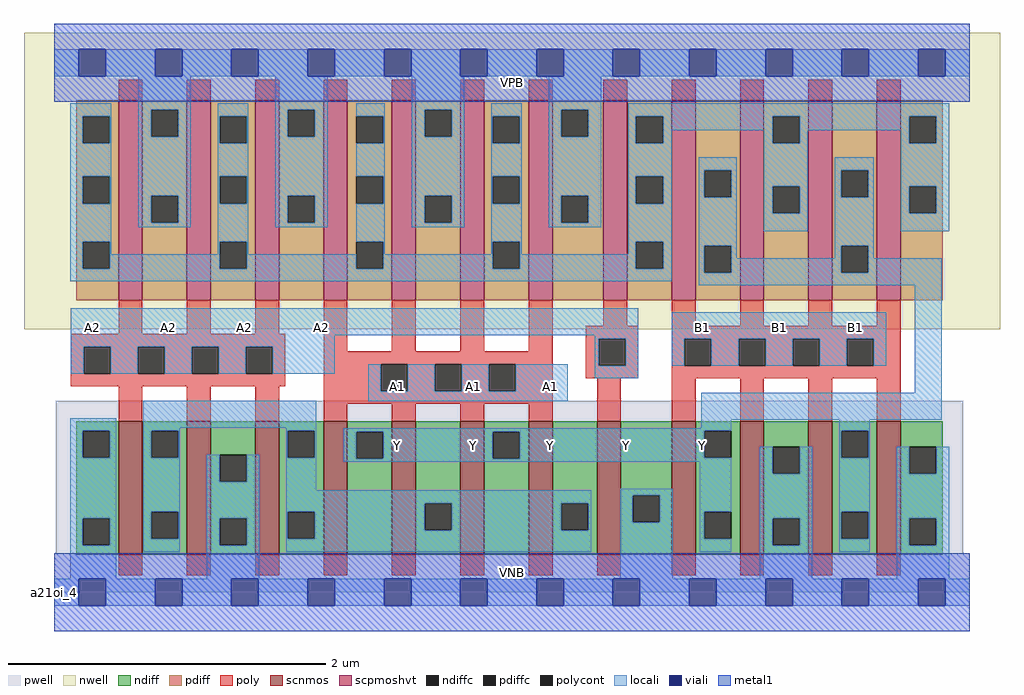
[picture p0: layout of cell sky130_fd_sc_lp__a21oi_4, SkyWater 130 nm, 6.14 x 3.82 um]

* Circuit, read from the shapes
.subckt sky130_fd_sc_lp__a21oi_4 A1 A2 B1 VGND VNB VPB VPWR Y
XM1 n1 A2 VGND VNB sky130_fd_pr__nfet_01v8 w=0.84 l=0.15 m=4
XM2 Y A1 n1 VNB sky130_fd_pr__nfet_01v8 w=0.84 l=0.15 m=4
XM3 Y B1 VGND VNB sky130_fd_pr__nfet_01v8 w=0.84 l=0.15 m=4
XM4 VPWR A2 n2 VPB sky130_fd_pr__pfet_01v8_hvt w=1.26 l=0.15 m=4
XM5 n2 A1 VPWR VPB sky130_fd_pr__pfet_01v8_hvt w=1.26 l=0.15 m=4
XM6 Y B1 n2 VPB sky130_fd_pr__pfet_01v8_hvt w=1.26 l=0.15 m=4
.ends

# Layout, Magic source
magic
tech sky130A
magscale 1 2
<< nwell >>
rect -38 331 1190 704
<< pwell >>
rect 2 49 1144 241
rect 0 0 1152 49
<< scnmos >>
rect 81 47 111 215
rect 167 47 197 215
rect 253 47 283 215
rect 339 47 369 215
rect 425 47 455 215
rect 511 47 541 215
rect 597 47 627 215
rect 683 47 713 215
rect 777 47 807 215
rect 863 47 893 215
rect 949 47 979 215
rect 1035 47 1065 215
<< scpmoshvt >>
rect 81 367 111 619
rect 167 367 197 619
rect 253 367 283 619
rect 339 367 369 619
rect 425 367 455 619
rect 511 367 541 619
rect 597 367 627 619
rect 691 367 721 619
rect 777 367 807 619
rect 863 367 893 619
rect 949 367 979 619
rect 1035 367 1065 619
<< ndiff >>
rect 28 203 81 215
rect 28 169 36 203
rect 70 169 81 203
rect 28 93 81 169
rect 28 59 36 93
rect 70 59 81 93
rect 28 47 81 59
rect 111 203 167 215
rect 111 169 122 203
rect 156 169 167 203
rect 111 101 167 169
rect 111 67 122 101
rect 156 67 167 101
rect 111 47 167 67
rect 197 173 253 215
rect 197 139 208 173
rect 242 139 253 173
rect 197 93 253 139
rect 197 59 208 93
rect 242 59 253 93
rect 197 47 253 59
rect 283 203 339 215
rect 283 169 294 203
rect 328 169 339 203
rect 283 101 339 169
rect 283 67 294 101
rect 328 67 339 101
rect 283 47 339 67
rect 369 202 425 215
rect 369 168 380 202
rect 414 168 425 202
rect 369 47 425 168
rect 455 112 511 215
rect 455 78 466 112
rect 500 78 511 112
rect 455 47 511 78
rect 541 202 597 215
rect 541 168 552 202
rect 586 168 597 202
rect 541 47 597 168
rect 627 112 683 215
rect 627 78 638 112
rect 672 78 683 112
rect 627 47 683 78
rect 713 122 777 215
rect 713 88 728 122
rect 762 88 777 122
rect 713 47 777 88
rect 807 203 863 215
rect 807 169 818 203
rect 852 169 863 203
rect 807 101 863 169
rect 807 67 818 101
rect 852 67 863 101
rect 807 47 863 67
rect 893 183 949 215
rect 893 149 904 183
rect 938 149 949 183
rect 893 93 949 149
rect 893 59 904 93
rect 938 59 949 93
rect 893 47 949 59
rect 979 203 1035 215
rect 979 169 990 203
rect 1024 169 1035 203
rect 979 101 1035 169
rect 979 67 990 101
rect 1024 67 1035 101
rect 979 47 1035 67
rect 1065 183 1118 215
rect 1065 149 1076 183
rect 1110 149 1118 183
rect 1065 93 1118 149
rect 1065 59 1076 93
rect 1110 59 1118 93
rect 1065 47 1118 59
<< pdiff >>
rect 28 599 81 619
rect 28 565 36 599
rect 70 565 81 599
rect 28 523 81 565
rect 28 489 36 523
rect 70 489 81 523
rect 28 441 81 489
rect 28 407 36 441
rect 70 407 81 441
rect 28 367 81 407
rect 111 607 167 619
rect 111 573 122 607
rect 156 573 167 607
rect 111 499 167 573
rect 111 465 122 499
rect 156 465 167 499
rect 111 367 167 465
rect 197 599 253 619
rect 197 565 208 599
rect 242 565 253 599
rect 197 523 253 565
rect 197 489 208 523
rect 242 489 253 523
rect 197 441 253 489
rect 197 407 208 441
rect 242 407 253 441
rect 197 367 253 407
rect 283 607 339 619
rect 283 573 294 607
rect 328 573 339 607
rect 283 499 339 573
rect 283 465 294 499
rect 328 465 339 499
rect 283 367 339 465
rect 369 599 425 619
rect 369 565 380 599
rect 414 565 425 599
rect 369 523 425 565
rect 369 489 380 523
rect 414 489 425 523
rect 369 441 425 489
rect 369 407 380 441
rect 414 407 425 441
rect 369 367 425 407
rect 455 607 511 619
rect 455 573 466 607
rect 500 573 511 607
rect 455 499 511 573
rect 455 465 466 499
rect 500 465 511 499
rect 455 367 511 465
rect 541 599 597 619
rect 541 565 552 599
rect 586 565 597 599
rect 541 523 597 565
rect 541 489 552 523
rect 586 489 597 523
rect 541 441 597 489
rect 541 407 552 441
rect 586 407 597 441
rect 541 367 597 407
rect 627 607 691 619
rect 627 573 638 607
rect 672 573 691 607
rect 627 499 691 573
rect 627 465 638 499
rect 672 465 691 499
rect 627 367 691 465
rect 721 599 777 619
rect 721 565 732 599
rect 766 565 777 599
rect 721 523 777 565
rect 721 489 732 523
rect 766 489 777 523
rect 721 441 777 489
rect 721 407 732 441
rect 766 407 777 441
rect 721 367 777 407
rect 807 531 863 619
rect 807 497 818 531
rect 852 497 863 531
rect 807 436 863 497
rect 807 402 818 436
rect 852 402 863 436
rect 807 367 863 402
rect 893 599 949 619
rect 893 565 904 599
rect 938 565 949 599
rect 893 511 949 565
rect 893 477 904 511
rect 938 477 949 511
rect 893 367 949 477
rect 979 531 1035 619
rect 979 497 990 531
rect 1024 497 1035 531
rect 979 436 1035 497
rect 979 402 990 436
rect 1024 402 1035 436
rect 979 367 1035 402
rect 1065 599 1118 619
rect 1065 565 1076 599
rect 1110 565 1118 599
rect 1065 511 1118 565
rect 1065 477 1076 511
rect 1110 477 1118 511
rect 1065 367 1118 477
<< ndiffc >>
rect 36 169 70 203
rect 36 59 70 93
rect 122 169 156 203
rect 122 67 156 101
rect 208 139 242 173
rect 208 59 242 93
rect 294 169 328 203
rect 294 67 328 101
rect 380 168 414 202
rect 466 78 500 112
rect 552 168 586 202
rect 638 78 672 112
rect 728 88 762 122
rect 818 169 852 203
rect 818 67 852 101
rect 904 149 938 183
rect 904 59 938 93
rect 990 169 1024 203
rect 990 67 1024 101
rect 1076 149 1110 183
rect 1076 59 1110 93
<< pdiffc >>
rect 36 565 70 599
rect 36 489 70 523
rect 36 407 70 441
rect 122 573 156 607
rect 122 465 156 499
rect 208 565 242 599
rect 208 489 242 523
rect 208 407 242 441
rect 294 573 328 607
rect 294 465 328 499
rect 380 565 414 599
rect 380 489 414 523
rect 380 407 414 441
rect 466 573 500 607
rect 466 465 500 499
rect 552 565 586 599
rect 552 489 586 523
rect 552 407 586 441
rect 638 573 672 607
rect 638 465 672 499
rect 732 565 766 599
rect 732 489 766 523
rect 732 407 766 441
rect 818 497 852 531
rect 818 402 852 436
rect 904 565 938 599
rect 904 477 938 511
rect 990 497 1024 531
rect 990 402 1024 436
rect 1076 565 1110 599
rect 1076 477 1110 511
<< poly >>
rect 81 619 111 645
rect 167 619 197 645
rect 253 619 283 645
rect 339 619 369 645
rect 425 619 455 645
rect 511 619 541 645
rect 597 619 627 645
rect 691 619 721 645
rect 777 619 807 645
rect 863 619 893 645
rect 949 619 979 645
rect 1035 619 1065 645
rect 81 325 111 367
rect 167 325 197 367
rect 253 325 283 367
rect 21 309 291 325
rect 21 275 37 309
rect 71 275 105 309
rect 139 275 173 309
rect 207 275 241 309
rect 275 275 291 309
rect 21 259 291 275
rect 339 303 369 367
rect 425 303 455 367
rect 511 303 541 367
rect 597 303 627 367
rect 691 335 721 367
rect 777 335 807 367
rect 863 335 893 367
rect 949 335 979 367
rect 1035 335 1065 367
rect 339 287 627 303
rect 81 215 111 259
rect 167 215 197 259
rect 253 215 283 259
rect 339 253 411 287
rect 445 253 479 287
rect 513 253 547 287
rect 581 253 627 287
rect 669 319 735 335
rect 669 285 685 319
rect 719 285 735 319
rect 669 269 735 285
rect 777 319 1065 335
rect 777 285 793 319
rect 827 285 861 319
rect 895 285 929 319
rect 963 285 997 319
rect 1031 285 1065 319
rect 777 269 1065 285
rect 339 237 627 253
rect 339 215 369 237
rect 425 215 455 237
rect 511 215 541 237
rect 597 215 627 237
rect 683 215 713 269
rect 777 215 807 269
rect 863 215 893 269
rect 949 215 979 269
rect 1035 215 1065 269
rect 81 21 111 47
rect 167 21 197 47
rect 253 21 283 47
rect 339 21 369 47
rect 425 21 455 47
rect 511 21 541 47
rect 597 21 627 47
rect 683 21 713 47
rect 777 21 807 47
rect 863 21 893 47
rect 949 21 979 47
rect 1035 21 1065 47
<< polycont >>
rect 37 275 71 309
rect 105 275 139 309
rect 173 275 207 309
rect 241 275 275 309
rect 411 253 445 287
rect 479 253 513 287
rect 547 253 581 287
rect 685 285 719 319
rect 793 285 827 319
rect 861 285 895 319
rect 929 285 963 319
rect 997 285 1031 319
<< locali >>
rect 0 649 31 683
rect 65 649 127 683
rect 161 649 223 683
rect 257 649 319 683
rect 353 649 415 683
rect 449 649 511 683
rect 545 649 607 683
rect 641 649 703 683
rect 737 649 799 683
rect 833 649 895 683
rect 929 649 991 683
rect 1025 649 1087 683
rect 1121 649 1152 683
rect 20 599 72 615
rect 20 565 36 599
rect 70 565 72 599
rect 20 523 72 565
rect 20 489 36 523
rect 70 489 72 523
rect 20 441 72 489
rect 106 607 172 649
rect 106 573 122 607
rect 156 573 172 607
rect 106 499 172 573
rect 106 465 122 499
rect 156 465 172 499
rect 106 459 172 465
rect 206 599 244 615
rect 206 565 208 599
rect 242 565 244 599
rect 206 523 244 565
rect 206 489 208 523
rect 242 489 244 523
rect 20 407 36 441
rect 70 425 72 441
rect 206 441 244 489
rect 278 607 344 649
rect 278 573 294 607
rect 328 573 344 607
rect 278 499 344 573
rect 278 465 294 499
rect 328 465 344 499
rect 278 459 344 465
rect 380 599 416 615
rect 414 565 416 599
rect 380 523 416 565
rect 414 489 416 523
rect 206 425 208 441
rect 70 407 208 425
rect 242 425 244 441
rect 380 441 416 489
rect 450 607 516 649
rect 450 573 466 607
rect 500 573 516 607
rect 450 499 516 573
rect 450 465 466 499
rect 500 465 516 499
rect 450 459 516 465
rect 550 599 588 615
rect 550 565 552 599
rect 586 565 588 599
rect 550 523 588 565
rect 550 489 552 523
rect 586 489 588 523
rect 242 407 380 425
rect 414 425 416 441
rect 550 441 588 489
rect 622 607 688 649
rect 622 573 638 607
rect 672 573 688 607
rect 622 499 688 573
rect 622 465 638 499
rect 672 465 688 499
rect 622 459 688 465
rect 722 599 1126 615
rect 722 565 732 599
rect 766 581 904 599
rect 766 565 777 581
rect 722 523 777 565
rect 893 565 904 581
rect 938 581 1076 599
rect 938 565 948 581
rect 722 489 732 523
rect 766 489 777 523
rect 550 425 552 441
rect 414 407 552 425
rect 586 425 588 441
rect 722 441 777 489
rect 722 425 732 441
rect 586 407 732 425
rect 766 407 777 441
rect 20 391 777 407
rect 811 531 859 547
rect 811 497 818 531
rect 852 497 859 531
rect 811 436 859 497
rect 893 511 948 565
rect 1065 565 1076 581
rect 1110 565 1126 599
rect 893 477 904 511
rect 938 477 948 511
rect 893 454 948 477
rect 982 531 1031 547
rect 982 497 990 531
rect 1024 497 1031 531
rect 811 402 818 436
rect 852 420 859 436
rect 982 436 1031 497
rect 1065 511 1126 565
rect 1065 477 1076 511
rect 1110 477 1126 511
rect 1065 454 1126 477
rect 982 420 990 436
rect 852 402 990 420
rect 1024 420 1031 436
rect 1024 402 1117 420
rect 811 386 1117 402
rect 21 323 735 357
rect 21 309 353 323
rect 21 275 37 309
rect 71 275 105 309
rect 139 275 173 309
rect 207 275 241 309
rect 275 275 353 309
rect 680 319 735 323
rect 395 253 411 287
rect 445 253 479 287
rect 513 253 547 287
rect 581 253 646 287
rect 680 285 685 319
rect 719 285 735 319
rect 777 319 1047 352
rect 777 285 793 319
rect 827 285 861 319
rect 895 285 929 319
rect 963 285 997 319
rect 1031 285 1047 319
rect 680 269 735 285
rect 20 203 78 219
rect 20 169 36 203
rect 70 169 78 203
rect 20 93 78 169
rect 20 59 36 93
rect 70 59 78 93
rect 20 17 78 59
rect 112 207 330 241
rect 395 240 646 253
rect 1083 251 1117 386
rect 112 203 158 207
rect 112 169 122 203
rect 156 169 158 203
rect 292 203 330 207
rect 814 217 1117 251
rect 814 206 852 217
rect 112 101 158 169
rect 112 67 122 101
rect 156 67 158 101
rect 112 51 158 67
rect 192 139 208 173
rect 242 139 258 173
rect 192 93 258 139
rect 192 59 208 93
rect 242 59 258 93
rect 192 17 258 59
rect 292 169 294 203
rect 328 169 330 203
rect 292 128 330 169
rect 364 203 852 206
rect 364 202 818 203
rect 364 168 380 202
rect 414 168 552 202
rect 586 169 818 202
rect 988 203 1026 217
rect 586 168 852 169
rect 364 164 852 168
rect 292 112 676 128
rect 292 101 466 112
rect 292 67 294 101
rect 328 78 466 101
rect 500 78 638 112
rect 672 78 676 112
rect 328 67 676 78
rect 292 51 676 67
rect 712 122 778 130
rect 712 88 728 122
rect 762 88 778 122
rect 712 17 778 88
rect 812 101 852 164
rect 812 67 818 101
rect 812 51 852 67
rect 888 149 904 183
rect 938 149 954 183
rect 888 93 954 149
rect 888 59 904 93
rect 938 59 954 93
rect 888 17 954 59
rect 988 169 990 203
rect 1024 169 1026 203
rect 988 101 1026 169
rect 988 67 990 101
rect 1024 67 1026 101
rect 988 51 1026 67
rect 1060 149 1076 183
rect 1110 149 1126 183
rect 1060 93 1126 149
rect 1060 59 1076 93
rect 1110 59 1126 93
rect 1060 17 1126 59
rect 0 -17 31 17
rect 65 -17 127 17
rect 161 -17 223 17
rect 257 -17 319 17
rect 353 -17 415 17
rect 449 -17 511 17
rect 545 -17 607 17
rect 641 -17 703 17
rect 737 -17 799 17
rect 833 -17 895 17
rect 929 -17 991 17
rect 1025 -17 1087 17
rect 1121 -17 1152 17
<< viali >>
rect 31 649 65 683
rect 127 649 161 683
rect 223 649 257 683
rect 319 649 353 683
rect 415 649 449 683
rect 511 649 545 683
rect 607 649 641 683
rect 703 649 737 683
rect 799 649 833 683
rect 895 649 929 683
rect 991 649 1025 683
rect 1087 649 1121 683
rect 31 -17 65 17
rect 127 -17 161 17
rect 223 -17 257 17
rect 319 -17 353 17
rect 415 -17 449 17
rect 511 -17 545 17
rect 607 -17 641 17
rect 703 -17 737 17
rect 799 -17 833 17
rect 895 -17 929 17
rect 991 -17 1025 17
rect 1087 -17 1121 17
<< metal1 >>
rect 0 683 1152 715
rect 0 649 31 683
rect 65 649 127 683
rect 161 649 223 683
rect 257 649 319 683
rect 353 649 415 683
rect 449 649 511 683
rect 545 649 607 683
rect 641 649 703 683
rect 737 649 799 683
rect 833 649 895 683
rect 929 649 991 683
rect 1025 649 1087 683
rect 1121 649 1152 683
rect 0 617 1152 649
rect 0 17 1152 49
rect 0 -17 31 17
rect 65 -17 127 17
rect 161 -17 223 17
rect 257 -17 319 17
rect 353 -17 415 17
rect 449 -17 511 17
rect 545 -17 607 17
rect 641 -17 703 17
rect 737 -17 799 17
rect 833 -17 895 17
rect 929 -17 991 17
rect 1025 -17 1087 17
rect 1121 -17 1152 17
rect 0 -49 1152 -17
<< labels >>
flabel pwell s 0 0 1152 49 0 FreeSans 200 0 0 0 VNB
port 5 nsew ground bidirectional
flabel nwell s 0 617 1152 666 0 FreeSans 200 0 0 0 VPB
port 6 nsew power bidirectional
rlabel comment s 0 0 0 0 4 a21oi_4
flabel metal1 s 0 617 1152 666 0 FreeSans 340 0 0 0 VPWR
port 7 nsew power bidirectional
flabel metal1 s 0 0 1152 49 0 FreeSans 340 0 0 0 VGND
port 4 nsew ground bidirectional
flabel locali s 415 242 449 276 0 FreeSans 340 0 0 0 A1
port 1 nsew signal input
flabel locali s 511 242 545 276 0 FreeSans 340 0 0 0 A1
port 1 nsew signal input
flabel locali s 607 242 641 276 0 FreeSans 340 0 0 0 A1
port 1 nsew signal input
flabel locali s 31 316 65 350 0 FreeSans 340 0 0 0 A2
port 2 nsew signal input
flabel locali s 127 316 161 350 0 FreeSans 340 0 0 0 A2
port 2 nsew signal input
flabel locali s 223 316 257 350 0 FreeSans 340 0 0 0 A2
port 2 nsew signal input
flabel locali s 319 316 353 350 0 FreeSans 340 0 0 0 A2
port 2 nsew signal input
flabel locali s 799 316 833 350 0 FreeSans 340 0 0 0 B1
port 3 nsew signal input
flabel locali s 895 316 929 350 0 FreeSans 340 0 0 0 B1
port 3 nsew signal input
flabel locali s 991 316 1025 350 0 FreeSans 340 0 0 0 B1
port 3 nsew signal input
flabel locali s 415 168 449 202 0 FreeSans 340 0 0 0 Y
port 8 nsew signal output
flabel locali s 511 168 545 202 0 FreeSans 340 0 0 0 Y
port 8 nsew signal output
flabel locali s 607 168 641 202 0 FreeSans 340 0 0 0 Y
port 8 nsew signal output
flabel locali s 703 168 737 202 0 FreeSans 340 0 0 0 Y
port 8 nsew signal output
flabel locali s 799 168 833 202 0 FreeSans 340 0 0 0 Y
port 8 nsew signal output
<< properties >>
string LEFsite unit
string LEFclass CORE
string FIXED_BBOX 0 0 1152 666
string GDS_FILE $PDKPATH/libs.ref/sky130_fd_sc_lp/gds/sky130_fd_sc_lp.gds
string LEFsymmetry X Y R90
string GDS_END 3677928
string GDS_START 3666920
<< end >>
